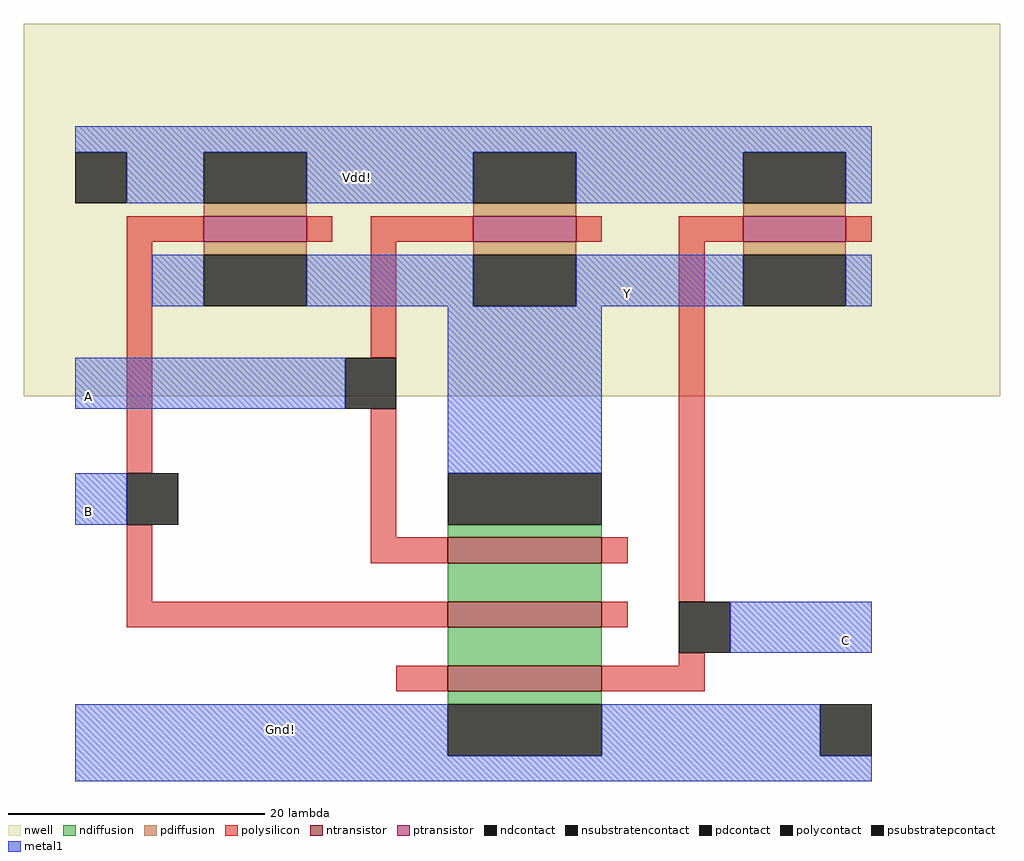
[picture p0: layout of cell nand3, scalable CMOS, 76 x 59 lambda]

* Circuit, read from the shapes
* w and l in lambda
.subckt nand3 A B C Gnd! Vdd! Y
M1 n1 C Gnd! Gnd! nfet w=12 l=2
M2 n2 B n1 Gnd! nfet w=12 l=2
M3 Y A n2 Gnd! nfet w=12 l=2
M4 Vdd! B Y Vdd! pfet w=8 l=2
M5 Vdd! A Y Vdd! pfet w=8 l=2
M6 Vdd! C Y Vdd! pfet w=8 l=2
.ends

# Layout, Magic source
magic
tech scmos
<< nwell >>
rect -35 -4 41 25
<< ntransistor >>
rect -2 -17 10 -15
rect -2 -22 10 -20
rect -2 -27 10 -25
<< ptransistor >>
rect -21 8 -13 10
rect 0 8 8 10
rect 21 8 29 10
<< ndiffusion >>
rect -2 -15 10 -14
rect -2 -20 10 -17
rect -2 -25 10 -22
rect -2 -28 10 -27
<< pdiffusion >>
rect -21 10 -13 11
rect 0 10 8 11
rect 21 10 29 11
rect -21 7 -13 8
rect 0 7 8 8
rect 21 7 29 8
<< ndcontact >>
rect -2 -14 10 -10
rect -2 -32 10 -28
<< pdcontact >>
rect -21 11 -13 15
rect 0 11 8 15
rect 21 11 29 15
rect -21 3 -13 7
rect 0 3 8 7
rect 21 3 29 7
<< psubstratepcontact >>
rect 27 -32 31 -28
<< nsubstratencontact >>
rect -31 11 -27 15
<< polysilicon >>
rect -27 8 -21 10
rect -13 8 -11 10
rect -8 8 0 10
rect 8 8 10 10
rect 16 8 21 10
rect 29 8 31 10
rect -27 -10 -25 8
rect -8 -1 -6 8
rect -27 -20 -25 -14
rect -8 -15 -6 -5
rect -8 -17 -2 -15
rect 10 -17 12 -15
rect 16 -20 18 8
rect -27 -22 -2 -20
rect 10 -22 12 -20
rect 16 -25 18 -24
rect -6 -27 -2 -25
rect 10 -27 18 -25
<< polycontact >>
rect -10 -5 -6 -1
rect -27 -14 -23 -10
rect 16 -24 20 -20
<< metal1 >>
rect -31 15 31 17
rect -27 11 -21 15
rect -13 11 0 15
rect 8 11 21 15
rect 29 11 31 15
rect -25 3 -21 7
rect -13 3 0 7
rect 8 3 21 7
rect 29 3 31 7
rect -31 -5 -10 -1
rect -2 -10 10 3
rect -31 -14 -27 -10
rect 20 -24 31 -20
rect -31 -32 -2 -28
rect 10 -32 27 -28
rect -31 -34 31 -32
<< labels >>
rlabel metal1 -30 -4 -30 -4 3 A
rlabel metal1 -30 -13 -30 -13 3 B
rlabel metal1 -9 13 -9 13 1 Vdd!
rlabel metal1 -15 -30 -15 -30 1 Gnd!
rlabel metal1 12 4 12 4 1 Y
rlabel metal1 29 -23 29 -23 1 C
<< end >>
